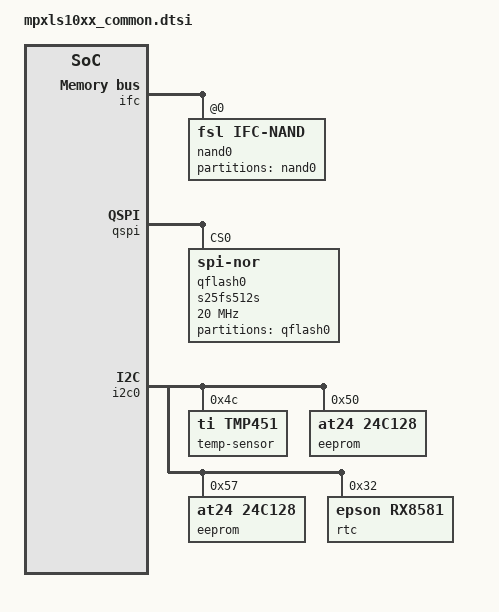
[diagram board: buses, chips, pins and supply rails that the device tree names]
// SPDX-License-Identifier: (GPL-2.0+ OR MIT)
/*
 * Device Tree file for MPXLS10xx modules.
 *
 * Copyright 2018 MicroSys Electronics GmbH
 *
 * Kay Potthoff <Kay.Potthoff@microsys.de>
 *
 */

&ifc {
	status = "okay";

	nand0: nand@0,0 {
		#address-cells = <1>;
		#size-cells = <1>;
		compatible = "fsl,ifc-nand";
			reg = <0x0 0x0 0x10000>;
			partition@0 {
				reg = <0x0 0x20000000>;
				label = "nand0";
			};
		};
};

&qspi {
	num-cs = <1>;
	bus-num = <0>;
	status = "okay";

	qflash0: s25fs512s@0 {
		compatible = "jedec,spi-nor","spansion,m25p80";
		#address-cells = <1>;
		#size-cells = <1>;
		spi-max-frequency = <20000000>;
		m25p,fast-read;
		reg = <0>;
		partition@ff {
			reg = <0x0 0x1000000>;
			label = "qflash0";
		};
	};
};

&i2c0 {
	status = "okay";

	temp-sensor@4c {
		compatible = "ti,tmp451";
	        reg = <0x4c>;
	        extended-mode; // switch to extended temperature range from [-64..191]
		#limit-cells = <4>;
		limits = <0x00 0xff 0xa4 0x8b>, // Local Temp.:  <-64 191 100 75>
		         <0x00 0xff 0xff 0x00>; // Remote Temp.: <-64 191 120 0>
	};

	eeprom@50 {
		compatible = "at24,24c128";
		reg = <0x50>;
	};

	eeprom@57 {
		compatible = "at24,24c128";
		reg = <0x57>;
	};

	rtc@32 {
		compatible = "epson,rx8581";
		reg = <0x32>;
	};
};
